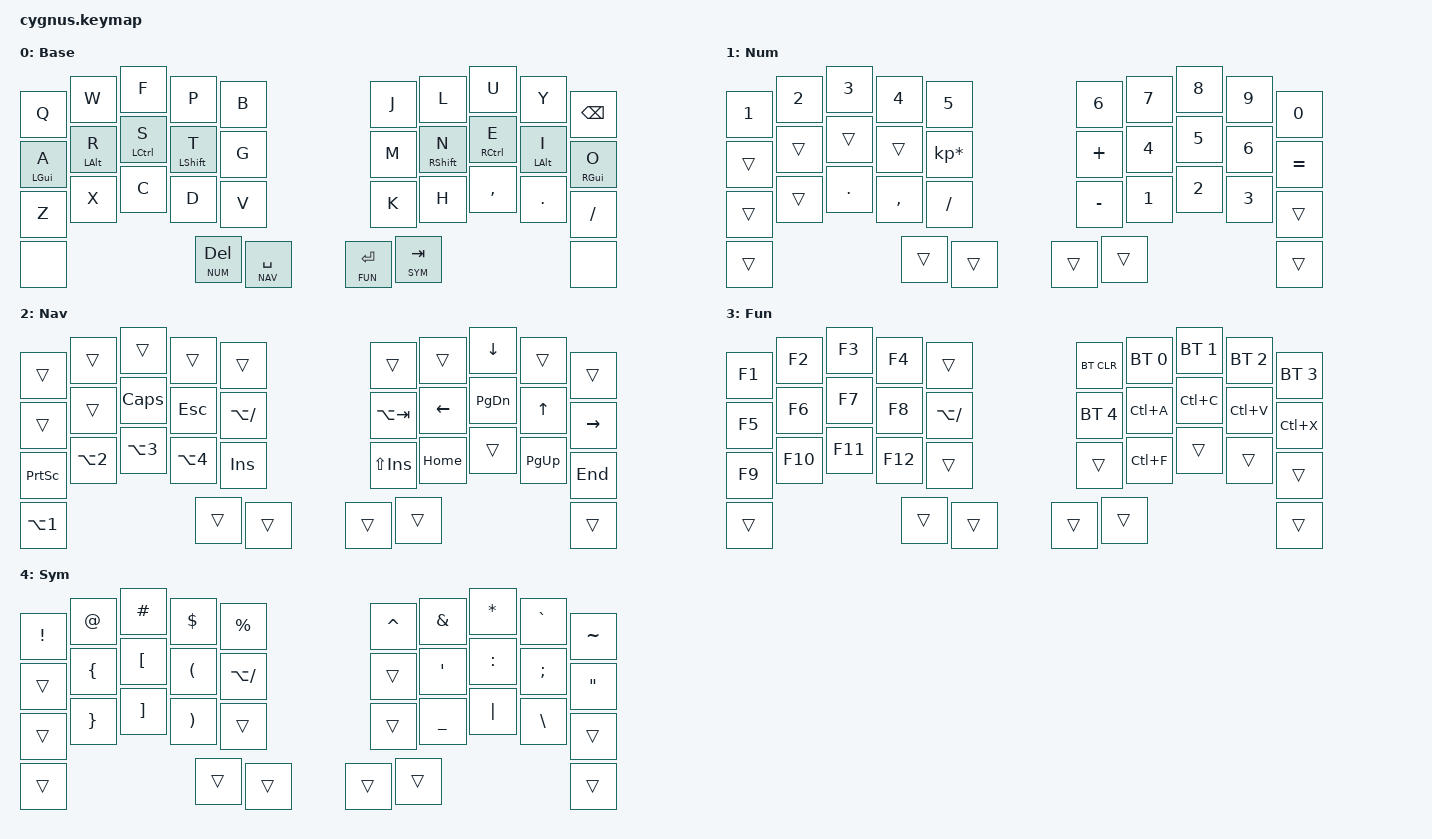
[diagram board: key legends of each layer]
#include <behaviors.dtsi>
#include <dt-bindings/zmk/keys.h>
#include <dt-bindings/zmk/bt.h>

#define BASE 0
#define NUM  1
#define NAV  2
#define FUN  3
#define SYM  4

/ {
    behaviors {
        hm: homerow_mods {
            compatible = "zmk,behavior-hold-tap";
            #binding-cells = <2>;
            tapping-term-ms = <200>;
            quick-tap-ms = <175>;
            require-prior-idle-ms = <125>;
            flavor = "balanced";
            bindings = <&kp>, <&kp>;
        };
    };

    keymap {
        compatible = "zmk,keymap";

        /* L0: Colemak-DH Base Layer */
        base_layer {
            display-name = "Base";
            bindings = <
                &kp Q       &kp W       &kp F        &kp P        &kp B          &kp J         &kp L          &kp U          &kp Y          &kp BSPC
                &hm LGUI A  &hm LALT R  &hm LCTRL S  &hm LSHFT T  &kp G          &kp M         &hm RSHFT N    &hm RCTRL E    &hm LALT I     &hm RGUI O
                &kp Z       &kp X       &kp C        &kp D        &kp V          &kp K         &kp H          &kp COMMA      &kp DOT        &kp FSLH
                &none                                &lt NUM DEL  &lt NAV SPACE  &lt FUN RET   &lt SYM TAB                                  &none
            >;
        };

        /* L1: Numbers & Math */
        num_layer {
            display-name = "Num";
            bindings = <
                &kp N1      &kp N2      &kp N3       &kp N4       &kp N5          &kp N6       &kp N7         &kp N8         &kp N9         &kp N0
                &trans      &trans      &trans       &trans       &kp KP_MULTIPLY &kp PLUS     &kp N4         &kp N5         &kp N6         &kp EQUAL
                &trans      &trans      &kp DOT      &kp COMMA    &kp FSLH        &kp MINUS    &kp N1         &kp N2         &kp N3         &trans
                &trans                               &trans       &trans          &trans       &trans                                       &trans
            >;
        };

        /* L2: Navigation & Window Shortcuts */
        nav_layer {
            display-name = "Nav";
            bindings = <
                &trans      &trans      &trans       &trans       &trans         &trans        &trans         &kp DOWN       &trans         &trans
                &trans      &trans      &kp CAPS     &kp ESC      &kp LA(FSLH)   &kp LA(TAB)   &kp LEFT       &kp PG_DN      &kp UP         &kp RIGHT
                &kp PSCRN   &kp LA(N2)  &kp LA(N3)   &kp LA(N4)   &kp INS        &kp LS(INS)   &kp HOME       &trans         &kp PG_UP      &kp END
                &kp LA(N1)                           &trans       &trans         &trans        &trans                                       &trans
            >;
        };

        /* L3: Function Keys, Editing & Bluetooth */
        fun_layer {
            display-name = "Fun";
            bindings = <
                &kp F1      &kp F2      &kp F3       &kp F4       &trans         &bt BT_CLR    &bt BT_SEL 0   &bt BT_SEL 1   &bt BT_SEL 2   &bt BT_SEL 3
                &kp F5      &kp F6      &kp F7       &kp F8       &kp LA(FSLH)   &bt BT_SEL 4  &kp LC(A)      &kp LC(C)      &kp LC(V)      &kp LC(X)
                &kp F9      &kp F10     &kp F11      &kp F12      &trans         &trans        &kp LC(F)      &trans         &trans         &trans
                &trans                               &trans       &trans         &trans        &trans                                       &trans
            >;
        };

        /* L4: Symbols */
        sym_layer {
            display-name = "Sym";
            bindings = <
                &kp EXCL    &kp AT      &kp HASH     &kp DLLR     &kp PRCNT      &kp CARET     &kp AMPS       &kp ASTRK      &kp GRAVE      &kp TILDE
                &trans      &kp LBRC    &kp LBKT     &kp LPAR     &kp LA(FSLH)   &trans        &kp SQT        &kp COLON      &kp SEMI       &kp DQT
                &trans      &kp RBRC    &kp RBKT     &kp RPAR     &trans         &trans        &kp UNDER      &kp PIPE       &kp BSLH       &trans
                &trans                               &trans       &trans         &trans        &trans                                       &trans
            >;
        };

        /* Reserved layer slot for adding a layer in ZMK Studio */
        extra_layer {
            display-name = "Extra";
            status = "reserved";
        };
    };
};
